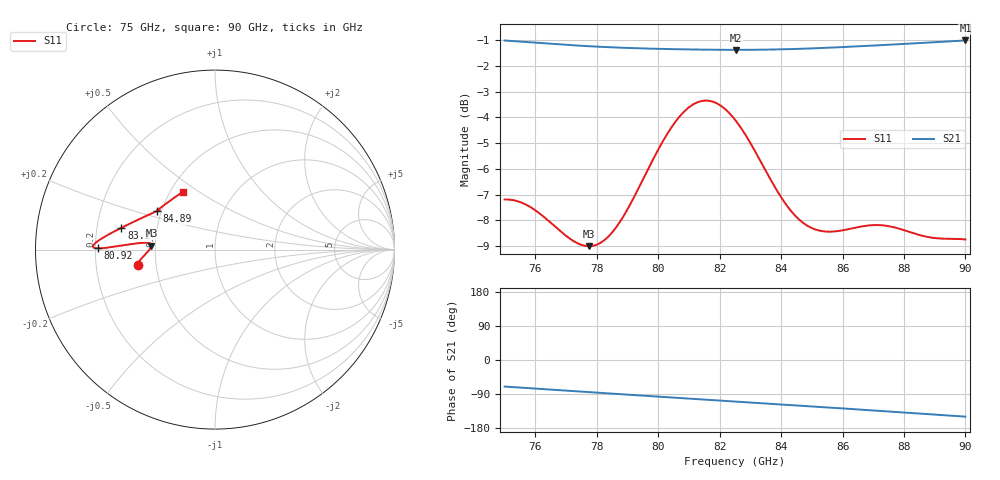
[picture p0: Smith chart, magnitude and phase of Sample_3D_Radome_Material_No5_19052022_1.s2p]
!SWISSto12 MCK measurement data
!name=Sample_3D_Radome_Material_No5_19052022_1
!thickness[mm]=3.000
# GHz S RI R 50.0
!freq ReS11 ImS11 ReS21 ImS21 ReS12 ImS12 ReS22 ImS22
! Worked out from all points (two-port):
!   961 points, 75 GHz to 90 GHz, reference 50 ohm
!   highest |S21| = -1.01 dB at 90 GHz (marker M1); lowest = -1.4 dB at 82.53 GHz (marker M2)
!   |S21| within 3 dB of the highest: start of sweep to end of sweep
!   lowest |S11| = -9.0 dB at 77.75 GHz (marker M3), VSWR 2.10, Z = 23.8 + j1.2 ohm
!   |S11| at or under -10 dB: nowhere
!   S12 and S22 are empty: the file has one direction only
!   S11 on the Smith chart (normalised r, x): 75 GHz: 0.39, -0.08; 80.92 GHz: 0.21, +0.01; 83.2 GHz: 0.31, +0.10; 84.89 GHz: 0.47, +0.24; 90 GHz: 0.58, +0.43
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75  -0.4288 -0.0848  0.303 -0.8368  0 0  0 0
75.8125  -0.4191 -0.0608  0.2361 -0.8507  0 0  0 0
77.5  -0.3567 0.0132  0.1007 -0.8633  0 0  0 0
77.75  -0.3542 0.0221  0.0805 -0.8637  0 0  0 0
78.25  -0.363 0.0343  0.04 -0.8635  0 0  0 0
78.78125  -0.3961 0.0379  -0.00304 -0.8618  0 0  0 0
80  -0.546 0.0182  -0.1 -0.8516  0 0  0 0
80.92188  -0.6541 0.00708  -0.1707 -0.838  0 0  0 0
81.3125  -0.6763 0.0115  -0.1999 -0.8309  0 0  0 0
81.70312  -0.6785 0.0232  -0.2288 -0.8228  0 0  0 0
82.09375  -0.6599 0.042  -0.2572 -0.814  0 0  0 0
82.5  -0.6208 0.068  -0.2865 -0.804  0 0  0 0
82.53125  -0.617 0.0702  -0.2888 -0.8032  0 0  0 0
83.20312  -0.5218 0.1214  -0.3365 -0.7848  0 0  0 0
84.15625  -0.3851 0.1867  -0.4033 -0.755  0 0  0 0
84.89062  -0.3228 0.2146  -0.454 -0.7287  0 0  0 0
85  -0.3178 0.2168  -0.4616 -0.7246  0 0  0 0
85.5625  -0.3073 0.2211  -0.5 -0.7019  0 0  0 0
86.84375  -0.325 0.2142  -0.585 -0.6427  0 0  0 0
87.5  -0.3188 0.2214  -0.6265 -0.6083  0 0  0 0
88.125  -0.2922 0.2416  -0.6642 -0.5731  0 0  0 0
90  -0.1755 0.3207  -0.7669 -0.452  0 0  0 0
